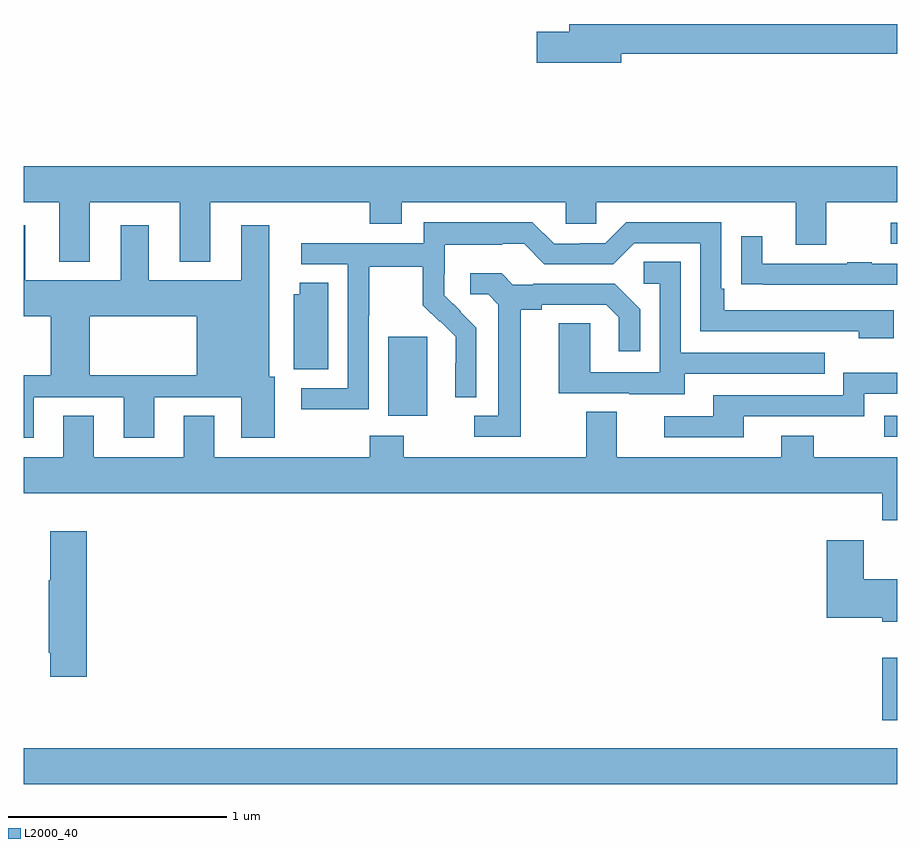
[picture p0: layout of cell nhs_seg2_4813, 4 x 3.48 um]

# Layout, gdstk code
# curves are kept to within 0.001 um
import gdstk
lib = gdstk.Library(unit=1e-6, precision=1e-09)
def R(c, l, rs):  # rectangles x0, y0, x1, y1
    for r in rs: c.add(gdstk.rectangle(r[:2], r[2:], *l))
def P(c, l, *ps):  # polygons
    for p in ps: c.add(gdstk.Polygon(p, *l))
L2000_40 = (2000, 40)

nhs_seg2_4813 = lib.new_cell('nhs_seg2_4813')
R(nhs_seg2_4813, L2000_40, [(373,642.308,377,642.472), (376.931,642.6,377,642.886), (376.941,643.899,377,643.995), (374.669,643.994,374.848,644.355), (376.971,644.781,377,644.877)])
P(nhs_seg2_4813, L2000_40, [(375.736,645.652),(377,645.652),(377,645.788),(375.497,645.788),(375.497,645.752),(375.348,645.752),(375.348,645.61),(375.736,645.61)],
  [(373.303,644.972),(373.715,644.972),(373.715,644.699),(373.855,644.699),(373.855,644.972),(374.584,644.972),(374.584,644.873),(374.731,644.873),(374.731,644.972),(375.483,644.972),(375.483,644.874),(375.621,644.874),(375.621,644.972),(376.535,644.972),(376.535,644.778),(376.675,644.778),(376.675,644.972),(377,644.972),(377,645.136),(373,645.136),(373,644.972),(373.163,644.972),(373.163,644.699),(373.303,644.699)],
  [(374.58,644.452),(374.583,644.452),(374.583,644.676),(374.827,644.676),(374.827,644.501),(374.904,644.424),(374.907,644.427),(374.978,644.357),(374.978,644.234),(374.976,644.234),(374.976,644.08),(375.072,644.08),(375.072,644.398),(374.926,644.546),(374.926,644.643),(374.928,644.643),(374.928,644.777),(375.191,644.777),(375.191,644.781),(375.291,644.781),(375.384,644.688),(375.699,644.688),(375.795,644.784),(376.098,644.784),(376.098,644.382),(376.823,644.382),(376.823,644.348),(376.984,644.348),(376.984,644.478),(376.207,644.478),(376.207,644.575),(376.194,644.575),(376.194,644.88),(375.759,644.88),(375.663,644.784),(375.545,644.784),(375.545,644.781),(375.429,644.781),(375.329,644.881),(374.832,644.881),(374.832,644.784),(374.271,644.784),(374.271,644.688),(374.484,644.688),(374.484,644.121),(374.271,644.121),(374.271,644.023),(374.58,644.023)],
  [(373.045,644.079),(373.457,644.079),(373.457,643.893),(373.597,643.893),(373.597,644.079),(373.997,644.079),(373.997,643.893),(374.149,643.893),(374.149,644.172),(374.125,644.172),(374.125,644.866),(373.997,644.866),(373.997,644.614),(373.573,644.614),(373.573,644.866),(373.445,644.866),(373.445,644.614),(373.006,644.614),(373.006,644.866),(373,644.866),(373,644.45),(373.124,644.45),(373.124,644.18),(373.302,644.18),(373.302,644.45),(373.793,644.45),(373.793,644.18),(373.302,644.18),(373.124,644.18),(373,644.18),(373,643.893),(373.045,643.893)],
  [(377,644.691),(376.883,644.691),(376.883,644.696),(376.771,644.696),(376.771,644.691),(376.381,644.691),(376.381,644.815),(376.285,644.815),(376.285,644.596),(376.387,644.596),(376.387,644.595),(377,644.595)],
  [(376.027,644.187),(376.667,644.187),(376.667,644.283),(376.008,644.283),(376.008,644.699),(375.84,644.699),(375.84,644.598),(375.912,644.598),(375.912,644.193),(375.594,644.193),(375.594,644.417),(375.449,644.417),(375.449,644.097),(375.773,644.097),(375.773,644.093),(376.027,644.093)],
  [(375.277,644.48),(375.373,644.48),(375.373,644.502),(375.668,644.502),(375.725,644.445),(375.725,644.289),(375.822,644.289),(375.822,644.482),(375.706,644.598),(375.334,644.598),(375.334,644.595),(375.24,644.595),(375.188,644.647),(375.045,644.647),(375.045,644.55),(375.126,644.55),(375.173,644.503),(375.173,643.995),(375.063,643.995),(375.063,643.899),(375.277,643.899)],
  [(374.395,644.603),(374.264,644.603),(374.264,644.55),(374.237,644.55),(374.237,644.206),(374.395,644.206)],
  [(376.297,643.992),(376.848,643.992),(376.848,644.094),(377,644.094),(377,644.191),(376.752,644.191),(376.752,644.088),(376.157,644.088),(376.157,643.992),(375.933,643.992),(375.933,643.896),(376.297,643.896)],
  [(373.733,643.994),(373.733,643.804),(373.321,643.804),(373.321,643.994),(373.181,643.994),(373.181,643.804),(373,643.804),(373,643.64),(376.931,643.64),(376.931,643.516),(377,643.516),(377,643.804),(376.617,643.804),(376.617,643.903),(376.469,643.903),(376.469,643.804),(375.715,643.804),(375.715,644.012),(375.575,644.012),(375.575,643.804),(374.739,643.804),(374.739,643.903),(374.584,643.903),(374.584,643.804),(373.873,643.804),(373.873,643.994)],
  [(373.289,643.465),(373.121,643.465),(373.121,643.241),(373.114,643.241),(373.114,642.91),(373.121,642.91),(373.121,642.798),(373.289,642.798)],
  [(377,643.246),(376.846,643.246),(376.846,643.423),(376.676,643.423),(376.676,643.07),(376.932,643.07),(376.932,643.052),(377,643.052)])

lib.write_gds('nhs_seg2_4813.gds')
